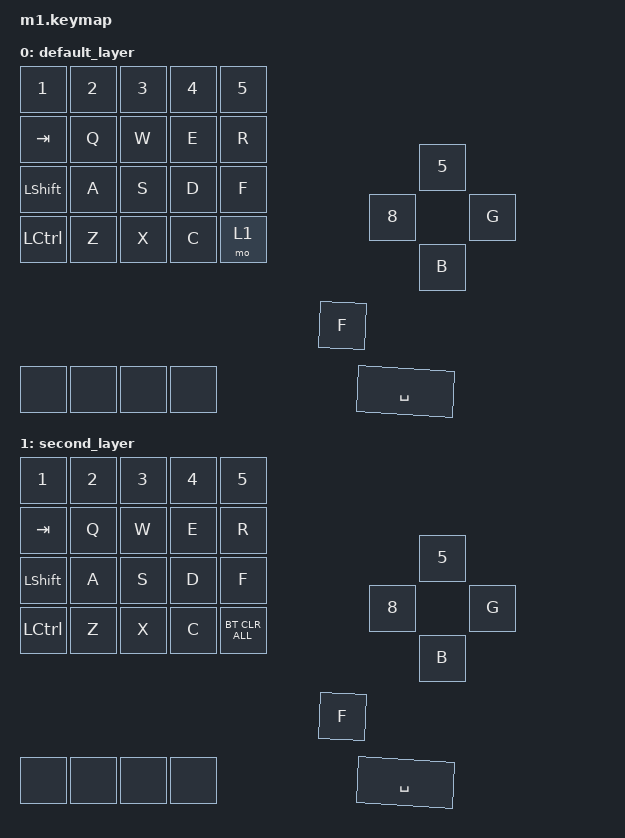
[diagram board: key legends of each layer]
#include <behaviors.dtsi>
#include <dt-bindings/zmk/keys.h>
#include <dt-bindings/zmk/bt.h>

/ {
    keymap {
        compatible = "zmk,keymap";

        default_layer {
            bindings = <
                /* ALTE MATRIX (Reihe 0-3) */
                &kp N1    &kp N2    &kp N3    &kp N4    &kp N5
                &kp TAB   &kp Q     &kp W     &kp E     &kp R
                &kp LSHFT &kp A     &kp S     &kp D     &kp F
                &kp LCTRL &kp Z     &kp X     &kp C     &mo 1  /* HIER: Halten für Layer 1 */

                /* NEUE GESONDERTE MATRIX (Reihe 4-5) */
                &kp F     &kp N8    &kp G     &kp B     &kp N5
                &kp SPACE &none     &none     &none     &none
            >;
        };

        second_layer {
            bindings = <
                /* GLEICHE BELEGUNG WIE OBEN */
                &kp N1    &kp N2    &kp N3    &kp N4    &kp N5
                &kp TAB   &kp Q     &kp W     &kp E     &kp R
                &kp LSHFT &kp A     &kp S     &kp D     &kp F
                &kp LCTRL &kp Z     &kp X     &kp C     &bt BT_CLR_ALL /* Hier bleibt der BT Clear */

                /* UNTERE MATRIX */
                &kp F     &kp N8    &kp G     &kp B     &kp N5
                &kp SPACE &none     &none     &none     &none
            >;
        };
    };
};
